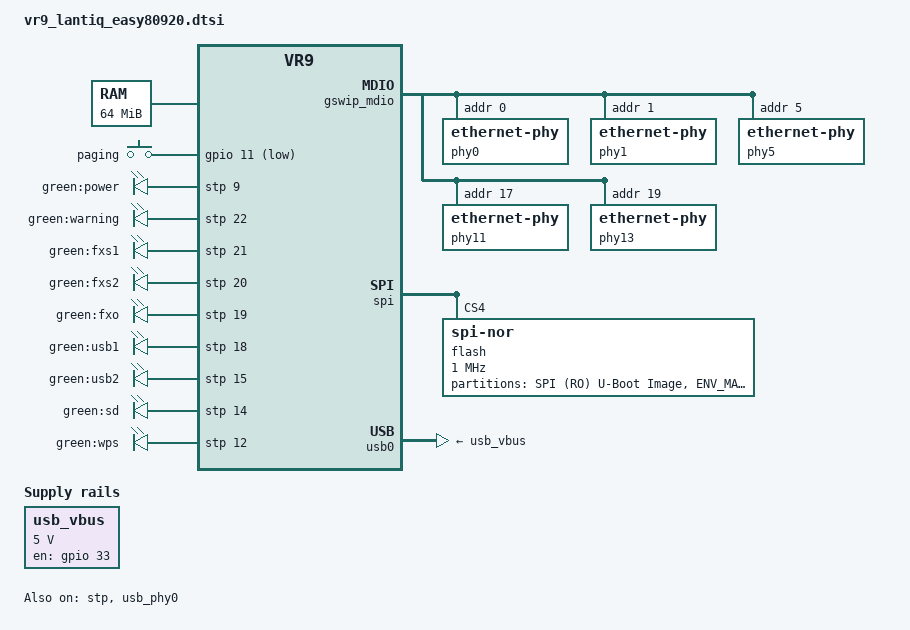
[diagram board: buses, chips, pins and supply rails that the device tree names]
#include "vr9.dtsi"

#include <dt-bindings/input/input.h>
#include <dt-bindings/mips/lantiq_rcu_gphy.h>

/ {
	compatible = "lantiq,easy80920", "lantiq,xway", "lantiq,vr9";

	chosen {
		bootargs = "console=ttyLTQ0,115200";
	};

	aliases {
		led-boot = &power;
		led-failsafe = &power;
		led-running = &power;
		led-upgrade = &power;
	};

	memory@0 {
		device_type = "memory";
		reg = <0x0 0x4000000>;
	};

	keys {
		compatible = "gpio-keys-polled";
		poll-interval = <100>;
/*		reset {
			label = "reset";
			gpios = <&gpio 7 GPIO_ACTIVE_LOW>;
			linux,code = <KEY_RESTART>;
		};*/
		paging {
			label = "paging";
			gpios = <&gpio 11 GPIO_ACTIVE_LOW>;
			linux,code = <KEY_PHONE>;
		};
	};

	leds {
		compatible = "gpio-leds";

		power: power {
			label = "green:power";
			gpios = <&stp 9 GPIO_ACTIVE_HIGH>;
			default-state = "keep";
		};
		warning {
			label = "green:warning";
			gpios = <&stp 22 GPIO_ACTIVE_HIGH>;
		};
		fxs1 {
			label = "green:fxs1";
			gpios = <&stp 21 GPIO_ACTIVE_HIGH>;
		};
		fxs2 {
			label = "green:fxs2";
			gpios = <&stp 20 GPIO_ACTIVE_HIGH>;
		};
		fxo {
			label = "green:fxo";
			gpios = <&stp 19 GPIO_ACTIVE_HIGH>;
		};
		usb1 {
			label = "green:usb1";
			gpios = <&stp 18 GPIO_ACTIVE_HIGH>;
			trigger-sources = <&ehci_port1>;
			linux,default-trigger = "usbport";
		};

		usb2 {
			label = "green:usb2";
			gpios = <&stp 15 GPIO_ACTIVE_HIGH>;
			trigger-sources = <&ehci_port2>;
			linux,default-trigger = "usbport";
		};
		sd {
			label = "green:sd";
			gpios = <&stp 14 GPIO_ACTIVE_HIGH>;
		};
		wps {
			label = "green:wps";
			gpios = <&stp 12 GPIO_ACTIVE_HIGH>;
		};
	};

	usb_vbus: regulator-usb-vbus {
		compatible = "regulator-fixed";

		regulator-name = "USB_VBUS";

		regulator-min-microvolt = <5000000>;
		regulator-max-microvolt = <5000000>;

		gpio = <&gpio 33 GPIO_ACTIVE_HIGH>;
		enable-active-high;
	};
};

&gphy0 {
	lantiq,gphy-mode = <GPHY_MODE_GE>;
};

&gphy1 {
	lantiq,gphy-mode = <GPHY_MODE_GE>;
};

&gpio {
	pinctrl-names = "default";
	pinctrl-0 = <&state_default>;

	state_default: pinmux {
		exin3 {
			lantiq,groups = "exin3";
			lantiq,function = "exin";
		};
		conf_out {
			lantiq,pins = "io21",
					"io33";
			lantiq,open-drain;
			lantiq,pull = <0>;
			lantiq,output = <1>;
		};
		pcie-rst {
			lantiq,pins = "io38";
			lantiq,pull = <0>;
			lantiq,output = <1>;
		};
		conf_in {
			lantiq,pins = "io39"; /* exin3 */
			lantiq,pull = <2>;
		};
	};
};

&gswip {
	pinctrl-0 = <&mdio_pins>;
	pinctrl-names = "default";
};

&gswip_mdio {
	phy0: ethernet-phy@0 {
		reg = <0x0>;
	};
	phy1: ethernet-phy@1 {
		reg = <0x1>;
	};
	phy5: ethernet-phy@5 {
		reg = <0x5>;
	};
	phy11: ethernet-phy@11 {
		reg = <0x11>;
	};
	phy13: ethernet-phy@13 {
		reg = <0x13>;
	};
};

&gswip_ports {
	port@0 {
		reg = <0>;
		label = "lan4";
		phy-mode = "rgmii";
		phy-handle = <&phy0>;
	};
	port@1 {
		reg = <1>;
		label = "lan3";
		phy-mode = "rgmii";
		phy-handle = <&phy1>;
	};
	port@2 {
		reg = <2>;
		label = "lan2";
		phy-mode = "internal";
		phy-handle = <&phy11>;
	};
	port@4 {
		reg = <4>;
		label = "lan1";
		phy-mode = "internal";
		phy-handle = <&phy13>;
	};
	port@5 {
		reg = <5>;
		label = "wan";
		phy-mode = "rgmii";
		phy-handle = <&phy5>;
	};
};

&spi {
	status = "okay";

	flash@4 {
		compatible = "jedec,spi-nor";
		reg = <4>;
		spi-max-frequency = <1000000>;

		partitions {
			compatible = "fixed-partitions";
			#address-cells = <1>;
			#size-cells = <1>;

			partition@0 {
				reg = <0x0 0x20000>;
				label = "SPI (RO) U-Boot Image";
				read-only;
			};

			partition@20000 {
				reg = <0x20000 0x10000>;
				label = "ENV_MAC";
				read-only;
			};

			partition@30000 {
				reg = <0x30000 0x10000>;
				label = "DPF";
				read-only;
			};

			partition@40000 {
				reg = <0x40000 0x10000>;
				label = "NVRAM";
				read-only;
			};

			partition@50000 {
				reg = <0x50000 0x3a0000>;
				label = "kernel";
			};
		};
	};
};

&pci0 {
	pinctrl-0 = <&pci_gnt1_pins>, <&pci_req1_pins>;
	pinctrl-names = "default";
};

&stp {
	status = "okay";

	lantiq,shadow = <0xffff>;
	lantiq,dsl = <0x3>;
	lantiq,phy1 = <0x7>;
	lantiq,phy2 = <0x7>;
	/* lantiq,rising; */
};

&usb_phy0 {
	status = "okay";
};

&usb0 {
	status = "okay";
	vbus-supply = <&usb_vbus>;
};
